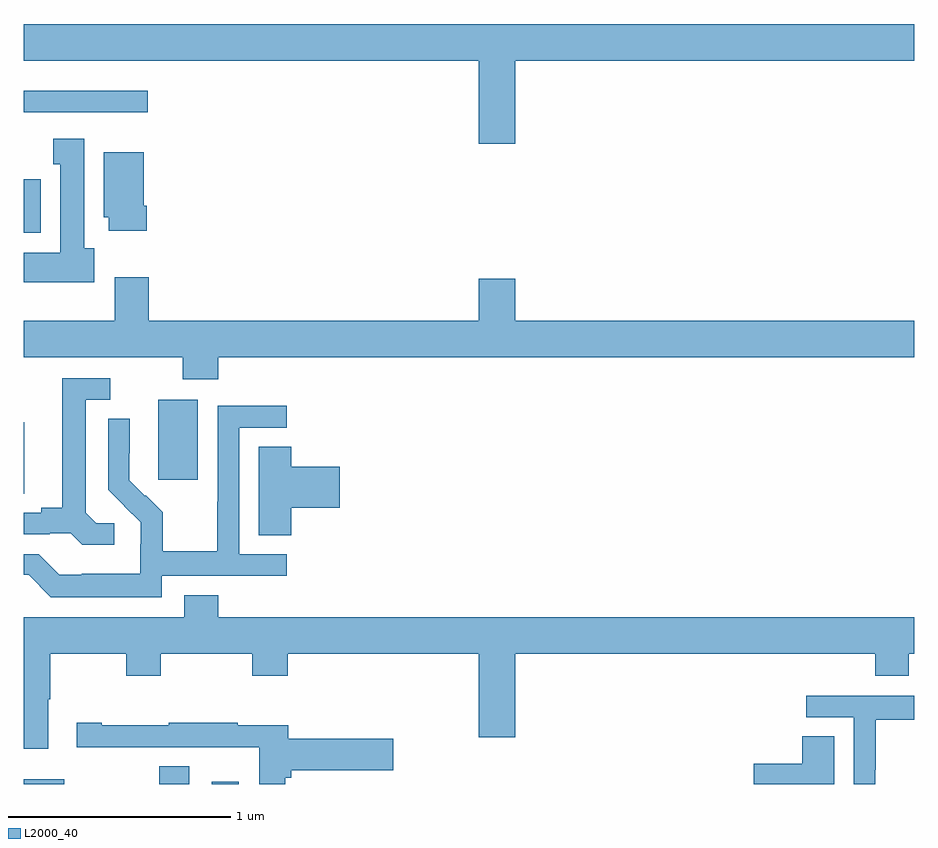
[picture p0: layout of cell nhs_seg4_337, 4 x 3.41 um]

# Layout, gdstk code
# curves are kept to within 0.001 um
import gdstk
lib = gdstk.Library(unit=1e-6, precision=1e-09)
def R(c, l, rs):  # rectangles x0, y0, x1, y1
    for r in rs: c.add(gdstk.rectangle(r[:2], r[2:], *l))
def P(c, l, *ps):  # polygons
    for p in ps: c.add(gdstk.Polygon(p, *l))
L2000_40 = (2000, 40)

nhs_seg4_337 = lib.new_cell('nhs_seg4_337')
R(nhs_seg4_337, L2000_40, [(127,798.9,127.183,798.922), (127.61,798.9,127.744,798.98), (127.844,798.9,127.966,798.91), (127,800.203,127.003,800.523), (127.604,800.265,127.783,800.626), (127,801.374,127.078,801.616), (127,801.915,127.558,802.012)])
P(nhs_seg4_337, L2000_40, [(129.208,802.148),(131,802.148),(131,802.312),(127,802.312),(127,802.148),(129.044,802.148),(129.044,801.774),(129.208,801.774)],
  [(127.318,801.306),(127.273,801.306),(127.273,801.796),(127.133,801.796),(127.133,801.683),(127.166,801.683),(127.166,801.286),(127,801.286),(127,801.152),(127.318,801.152)],
  [(127.553,801.496),(127.54,801.496),(127.54,801.736),(127.361,801.736),(127.361,801.444),(127.382,801.444),(127.382,801.384),(127.553,801.384)],
  [(127.874,800.816),(131,800.816),(131,800.98),(129.208,800.98),(129.208,801.169),(129.044,801.169),(129.044,800.98),(127.562,800.98),(127.562,801.175),(127.409,801.175),(127.409,800.98),(127,800.98),(127,800.816),(127.714,800.816),(127.714,800.717),(127.874,800.717)],
  [(127.408,800.07),(127.326,800.07),(127.279,800.117),(127.279,800.625),(127.39,800.625),(127.39,800.721),(127.175,800.721),(127.175,800.141),(127.079,800.141),(127.079,800.118),(127,800.118),(127,800.022),(127.118,800.022),(127.118,800.025),(127.212,800.025),(127.264,799.973),(127.408,799.973)],
  [(127.62,799.836),(128.182,799.836),(128.182,799.932),(127.968,799.932),(127.968,800.499),(128.182,800.499),(128.182,800.598),(127.872,800.598),(127.872,800.168),(127.87,800.168),(127.87,799.945),(127.625,799.945),(127.625,800.119),(127.548,800.196),(127.545,800.193),(127.475,800.264),(127.476,800.54),(127.38,800.54),(127.38,800.222),(127.526,800.074),(127.526,799.977),(127.524,799.977),(127.524,799.843),(127.261,799.843),(127.261,799.839),(127.161,799.839),(127.068,799.932),(127,799.932),(127,799.839),(127.023,799.839),(127.123,799.739),(127.62,799.739)],
  [(128.201,800.141),(128.419,800.141),(128.419,800.324),(128.201,800.324),(128.201,800.414),(128.057,800.414),(128.057,800.017),(128.201,800.017)],
  [(127.111,799.28),(127.119,799.28),(127.119,799.484),(127.462,799.484),(127.462,799.385),(127.617,799.385),(127.617,799.484),(128.026,799.484),(128.026,799.385),(128.186,799.385),(128.186,799.484),(129.044,799.484),(129.044,799.11),(129.208,799.11),(129.208,799.484),(130.823,799.484),(130.823,799.385),(130.975,799.385),(130.975,799.484),(131,799.484),(131,799.648),(127.874,799.648),(127.874,799.747),(127.721,799.747),(127.721,799.648),(127,799.648),(127,799.059),(127.111,799.059)],
  [(130.824,798.964),(130.827,798.964),(130.827,799.188),(131,799.188),(131,799.296),(130.515,799.296),(130.515,799.2),(130.728,799.2),(130.728,798.9),(130.824,798.9)],
  [(128.174,798.929),(128.201,798.929),(128.201,798.962),(128.659,798.962),(128.659,799.104),(128.188,799.104),(128.188,799.164),(127.961,799.164),(127.961,799.174),(127.651,799.174),(127.651,799.164),(127.351,799.164),(127.351,799.174),(127.239,799.174),(127.239,799.064),(127.514,799.064),(127.514,799.065),(127.848,799.065),(127.848,799.064),(128.058,799.064),(128.058,798.9),(128.174,798.9)],
  [(130.639,799.115),(130.496,799.115),(130.496,798.992),(130.278,798.992),(130.278,798.9),(130.639,798.9)])

lib.write_gds('nhs_seg4_337.gds')
